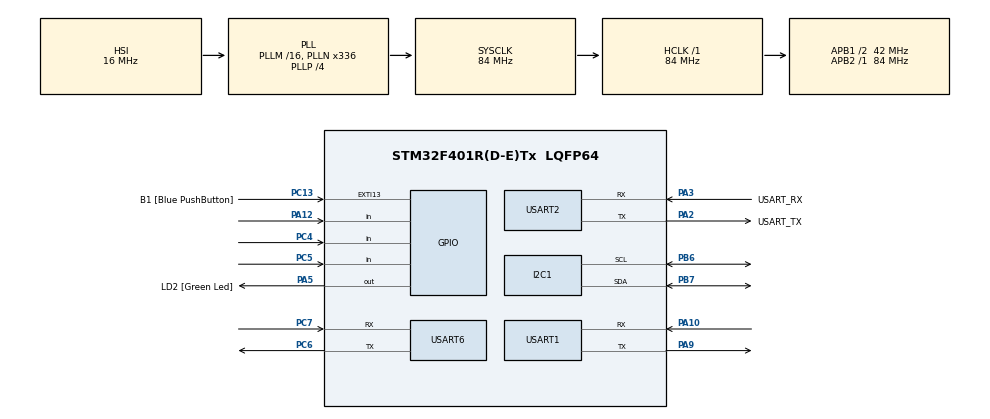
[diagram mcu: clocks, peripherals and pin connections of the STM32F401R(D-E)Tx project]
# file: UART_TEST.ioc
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Mcu.Family=STM32F4
PA2.GPIO_PuPd=GPIO_NOPULL
RCC.CortexFreq_Value=84000000
PA14.GPIO_Label=TCK
PA3.GPIO_PuPd=GPIO_NOPULL
PA2.GPIO_Speed=GPIO_SPEED_FREQ_LOW
PA3.GPIO_Speed=GPIO_SPEED_FREQ_LOW
RCC.SYSCLKSource=RCC_SYSCLKSOURCE_PLLCLK
ProjectManager.StackSize=0x400
VP_FREERTOS_VS_CMSIS_V2.Mode=CMSIS_V2
PA12.Signal=GPIO_Input
PH0\ -\ OSC_IN.Signal=RCC_OSC_IN
RCC.HCLKFreq_Value=84000000
RCC.APB2TimFreq_Value=84000000
PB6.Signal=I2C1_SCL
PC7.Signal=USART6_RX
PB6.Mode=I2C
RCC.AHBFreq_Value=84000000
RCC.HSE_VALUE=8000000
PC13-ANTI_TAMP.Signal=GPXTI13
PC14-OSC32_IN.Mode=LSE-External-Oscillator
PA14.Mode=Serial_Wire
PA5.GPIO_PuPd=GPIO_NOPULL
PB7.Signal=I2C1_SDA
Mcu.Package=LQFP64
USART2.VirtualMode=VM_ASYNC
USART6.VirtualMode=VM_ASYNC
PA2.GPIO_Label=USART_TX
PA10.Signal=USART1_RX
RCC.APB1TimFreq_Value=84000000
PC5.Signal=GPIO_Input
PA3.Signal=USART2_RX
PA2.GPIO_Mode=GPIO_MODE_AF_PP
PB3.GPIO_Label=SWO
PC15-OSC32_OUT.Mode=LSE-External-Oscillator
FREERTOS.Tasks01=defaultTask,24,128,StartDefaultTask,Default,NULL,Dynamic,NULL,NULL
PA10.Mode=Asynchronous
PC13-ANTI_TAMP.GPIO_PuPd=GPIO_NOPULL
PC13-ANTI_TAMP.GPIO_Label=B1 [Blue PushButton]
PH1\ -\ OSC_OUT.Mode=HSE-External-Clock-Source
PC4.Signal=GPIO_Input
PC6.Signal=USART6_TX
RCC.APB1CLKDivider=RCC_HCLK_DIV2
PC14-OSC32_IN.Signal=RCC_OSC32_IN
PA13.Signal=SYS_JTMS-SWDIO
PA3.Mode=Asynchronous
PA9.Mode=Asynchronous
PH0\ -\ OSC_IN.Mode=HSE-External-Clock-Source
ProjectManager.TargetToolchain=STM32CubeIDE
PA3.GPIO_Mode=GPIO_MODE_AF_PP
PC6.Mode=Asynchronous
PA9.Signal=USART1_TX
PC15-OSC32_OUT.Signal=RCC_OSC32_OUT
PA5.Signal=GPIO_Output
PH1\ -\ OSC_OUT.Signal=RCC_OSC_OUT
board=NUCLEO-F401RE
RCC.VCOOutputFreq_Value=336000000
RCC.APB2Freq_Value=84000000
PA13.Mode=Serial_Wire
Mcu.Name=STM32F401R(D-E)Tx
PA13.GPIO_Label=TMS
PA2.Signal=USART2_TX
RCC.48MHZClocksFreq_Value=48000000
PB3.Signal=SYS_JTDO-SWO
RCC.SYSCLKFreq_VALUE=84000000
PA5.GPIO_Label=LD2 [Green Led]
USART1.VirtualMode=VM_ASYNC
PC13-ANTI_TAMP.GPIO_ModeDefaultEXTI=GPIO_MODE_IT_FALLING
PB7.Mode=I2C
PA14.Signal=SYS_JTCK-SWCLK
ProjectManager.HeapSize=0x200
RCC.HSI_VALUE=16000000
RCC.PLLP=RCC_PLLP_DIV4
PA5.GPIO_Speed=GPIO_SPEED_FREQ_LOW
RCC.PLLQ=7
NVIC.PriorityGroup=NVIC_PRIORITYGROUP_4
RCC.PLLN=336
PA2.Mode=Asynchronous
PC7.Mode=Asynchronous
RCC.APB1Freq_Value=42000000
PA5.GPIO_Mode=GPIO_MODE_OUTPUT_PP
PA3.GPIO_Label=USART_RX

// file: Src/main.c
/* USER CODE BEGIN Header */
/**
 ******************************************************************************
 * @file           : main.c
 * @brief          : Main program body
 ******************************************************************************
 * @attention
 *
 * <h2><center>&copy; Copyright (c) 2021 STMicroelectronics.
 * All rights reserved.</center></h2>
 *
 * This software component is licensed by ST under BSD 3-Clause license,
 * the "License"; You may not use this file except in compliance with the
 * License. You may obtain a copy of the License at:
 *                        opensource.org/licenses/BSD-3-Clause
 *
 ******************************************************************************
 */
/* USER CODE END Header */
#include "main.h"
#include "cmsis_os.h"

/* USER CODE BEGIN Includes */
#include "pm_protocol.h"
#include <string.h>
#include <stdint.h>
#include "FreeRTOS.h"
#include "task.h"
#include "mics/mics_sensor2.h"
#include <stdio.h>
#include "mics/hardware_defs.h"
//#define ENABLE_MASTER_LOOPBACK_TEST
/* USER CODE END Includes */

I2C_HandleTypeDef hi2c1;

UART_HandleTypeDef huart1;
UART_HandleTypeDef huart2;
UART_HandleTypeDef huart6;

/* Definitions for defaultTask */
osThreadId_t defaultTaskHandle;
const osThreadAttr_t defaultTask_attributes = {
  .name = "defaultTask",
  .stack_size = 128 * 4,
  .priority = (osPriority_t) osPriorityNormal,
};
/* USER CODE BEGIN PV */
uint8_t rx_buffer[7]={0};
/* USER CODE END PV */

void SystemClock_Config(void);
static void MX_GPIO_Init(void);
static void MX_USART2_UART_Init(void);
static void MX_USART1_UART_Init(void);
static void MX_USART6_UART_Init(void);
static void MX_I2C1_Init(void);
void StartDefaultTask(void *argument);

/* USER CODE BEGIN PFP */
static int pmSlaveUartTx(uint8_t * data, uint8_t numBytes);
static int pmSlaveUartRx(uint8_t * data, uint8_t numBytes);

#ifdef ENABLE_MASTER_LOOPBACK_TEST
static int pmMasterUartTx(uint8_t * data, uint8_t numBytes);
static int pmMasterUartRx(uint8_t * data, uint8_t numBytes);
#endif
/* USER CODE END PFP */

/* USER CODE BEGIN 0 */

void debug(char * string) {
	uint32_t length = strlen(string);
	HAL_UART_Transmit(&huart2,(uint8_t *) string, length, 100);
}

/*static*/pmProtocolContext_t slave_uart;
static pmProtocolDriver_t slave_uart_drivers = { .tx = pmSlaveUartTx, .rx =
		pmSlaveUartRx, };

#ifdef ENABLE_MASTER_LOOPBACK_TEST
/*static*/pmProtocolContext_t master_uart;
static pmProtocolDriver_t master_uart_drivers = { .tx = pmMasterUartTx, .rx =
		pmMasterUartRx };
#endif

static int pmSlaveUartTx(uint8_t * data, uint8_t numBytes) {
	if ((HAL_UART_Transmit(&huart1, data, numBytes, 100) == HAL_OK)) {
		return numBytes;
	}
	return 0;
}

static int pmSlaveUartRx(uint8_t * data, uint8_t numBytes) {
	if ((HAL_UART_Receive(&huart1, data, numBytes,100) == HAL_OK)) {
		return numBytes;
	}
	return 0;
}

#ifdef ENABLE_MASTER_LOOPBACK_TEST

static int pmMasterUartTx(uint8_t * data, uint8_t numBytes) {
	if ((HAL_UART_Transmit(&huart6, data, numBytes, 10) == HAL_OK)) {
		return numBytes;
	}
	return 0;
}

static int pmMasterUartRx(uint8_t * data, uint8_t numBytes) {
	if ((HAL_UART_Receive(&huart6, data, numBytes, 10) == HAL_OK)) {
		return numBytes;
	}
	return 0;
}

#endif

/* USER CODE END 0 */

int main(void)
{

  /* MCU Configuration--------------------------------------------------------*/

  /* Reset of all peripherals, Initializes the Flash interface and the Systick. */

	HAL_Init();

  /* Configure the system clock */
  SystemClock_Config();

  /* Initialize all configured peripherals */
  MX_GPIO_Init();
  MX_USART2_UART_Init();
  MX_USART1_UART_Init();
  MX_USART6_UART_Init();
  MX_I2C1_Init();
  /* USER CODE BEGIN 2 */
	if (PM_PROTOCOL_SUCCESS
			!= pmProtocolInit(&slave_uart_drivers, &slave_uart)) {
		debug("Error! PM protocol initialized failed\n");
	}
#ifdef ENABLE_MASTER_LOOPBACK_TEST
	if (PM_PROTOCOL_SUCCESS
			!= pmProtocolInit(&master_uart_drivers, &master_uart)) {
		debug("Error! PM protocol initialized failed\n");
	}
#endif

  /* USER CODE END 2 */

  /* Init scheduler */
  osKernelInitialize();

  /* Create the thread(s) */
  /* creation of defaultTask */
  defaultTaskHandle = osThreadNew(StartDefaultTask, NULL, &defaultTask_attributes);

  /* Start scheduler */
  osKernelStart();

  /* We should never get here as control is now taken by the scheduler */
  /* Infinite loop */
	while (1) {

		 //vTaskDelay(100);
	}
}

void SystemClock_Config(void)
{
  RCC_OscInitTypeDef RCC_OscInitStruct = {0};
  RCC_ClkInitTypeDef RCC_ClkInitStruct = {0};

  /** Configure the main internal regulator output voltage
  */
  __HAL_RCC_PWR_CLK_ENABLE();
  __HAL_PWR_VOLTAGESCALING_CONFIG(PWR_REGULATOR_VOLTAGE_SCALE2);
  /** Initializes the RCC Oscillators according to the specified parameters
  * in the RCC_OscInitTypeDef structure.
  */
  RCC_OscInitStruct.OscillatorType = RCC_OSCILLATORTYPE_HSI;
  RCC_OscInitStruct.HSIState = RCC_HSI_ON;
  RCC_OscInitStruct.HSICalibrationValue = RCC_HSICALIBRATION_DEFAULT;
  RCC_OscInitStruct.PLL.PLLState = RCC_PLL_ON;
  RCC_OscInitStruct.PLL.PLLSource = RCC_PLLSOURCE_HSI;
  RCC_OscInitStruct.PLL.PLLM = 16;
  RCC_OscInitStruct.PLL.PLLN = 336;
  RCC_OscInitStruct.PLL.PLLP = RCC_PLLP_DIV4;
  RCC_OscInitStruct.PLL.PLLQ = 7;
  if (HAL_RCC_OscConfig(&RCC_OscInitStruct) != HAL_OK)
  {
    Error_Handler();
  }
  /** Initializes the CPU, AHB and APB buses clocks
  */
  RCC_ClkInitStruct.ClockType = RCC_CLOCKTYPE_HCLK|RCC_CLOCKTYPE_SYSCLK
                              |RCC_CLOCKTYPE_PCLK1|RCC_CLOCKTYPE_PCLK2;
  RCC_ClkInitStruct.SYSCLKSource = RCC_SYSCLKSOURCE_PLLCLK;
  RCC_ClkInitStruct.AHBCLKDivider = RCC_SYSCLK_DIV1;
  RCC_ClkInitStruct.APB1CLKDivider = RCC_HCLK_DIV2;
  RCC_ClkInitStruct.APB2CLKDivider = RCC_HCLK_DIV1;

  if (HAL_RCC_ClockConfig(&RCC_ClkInitStruct, FLASH_LATENCY_2) != HAL_OK)
  {
    Error_Handler();
  }
}

static void MX_I2C1_Init(void)
{

  hi2c1.Instance = I2C1;
  hi2c1.Init.ClockSpeed = 100000;
  hi2c1.Init.DutyCycle = I2C_DUTYCYCLE_2;
  hi2c1.Init.OwnAddress1 = 0;
  hi2c1.Init.AddressingMode = I2C_ADDRESSINGMODE_7BIT;
  hi2c1.Init.DualAddressMode = I2C_DUALADDRESS_DISABLE;
  hi2c1.Init.OwnAddress2 = 0;
  hi2c1.Init.GeneralCallMode = I2C_GENERALCALL_DISABLE;
  hi2c1.Init.NoStretchMode = I2C_NOSTRETCH_DISABLE;
  if (HAL_I2C_Init(&hi2c1) != HAL_OK)
  {
    Error_Handler();
  }

}

static void MX_USART1_UART_Init(void)
{

  huart1.Instance = USART1;
  huart1.Init.BaudRate = 115200;
  huart1.Init.WordLength = UART_WORDLENGTH_8B;
  huart1.Init.StopBits = UART_STOPBITS_1;
  huart1.Init.Parity = UART_PARITY_NONE;
  huart1.Init.Mode = UART_MODE_TX_RX;
  huart1.Init.HwFlowCtl = UART_HWCONTROL_NONE;
  huart1.Init.OverSampling = UART_OVERSAMPLING_16;
  if (HAL_UART_Init(&huart1) != HAL_OK)
  {
    Error_Handler();
  }

}

static void MX_USART2_UART_Init(void)
{

  huart2.Instance = USART2;
  huart2.Init.BaudRate = 115200;
  huart2.Init.WordLength = UART_WORDLENGTH_8B;
  huart2.Init.StopBits = UART_STOPBITS_1;
  huart2.Init.Parity = UART_PARITY_NONE;
  huart2.Init.Mode = UART_MODE_TX_RX;
  huart2.Init.HwFlowCtl = UART_HWCONTROL_NONE;
  huart2.Init.OverSampling = UART_OVERSAMPLING_16;
  if (HAL_UART_Init(&huart2) != HAL_OK)
  {
    Error_Handler();
  }

}

static void MX_USART6_UART_Init(void)
{

  huart6.Instance = USART6;
  huart6.Init.BaudRate = 115200;
  huart6.Init.WordLength = UART_WORDLENGTH_8B;
  huart6.Init.StopBits = UART_STOPBITS_1;
  huart6.Init.Parity = UART_PARITY_NONE;
  huart6.Init.Mode = UART_MODE_TX_RX;
  huart6.Init.HwFlowCtl = UART_HWCONTROL_NONE;
  huart6.Init.OverSampling = UART_OVERSAMPLING_16;
  if (HAL_UART_Init(&huart6) != HAL_OK)
  {
    Error_Handler();
  }

}

static void MX_GPIO_Init(void)
{
  GPIO_InitTypeDef GPIO_InitStruct = {0};

  /* GPIO Ports Clock Enable */
  __HAL_RCC_GPIOC_CLK_ENABLE();
  __HAL_RCC_GPIOH_CLK_ENABLE();
  __HAL_RCC_GPIOA_CLK_ENABLE();
  __HAL_RCC_GPIOB_CLK_ENABLE();

  /*Configure GPIO pin Output Level */
  HAL_GPIO_WritePin(LD2_GPIO_Port, LD2_Pin, GPIO_PIN_RESET);

  /*Configure GPIO pin : B1_Pin */
  GPIO_InitStruct.Pin = B1_Pin;
  GPIO_InitStruct.Mode = GPIO_MODE_IT_FALLING;
  GPIO_InitStruct.Pull = GPIO_NOPULL;
  HAL_GPIO_Init(B1_GPIO_Port, &GPIO_InitStruct);

  /*Configure GPIO pin : LD2_Pin */
  GPIO_InitStruct.Pin = LD2_Pin;
  GPIO_InitStruct.Mode = GPIO_MODE_OUTPUT_PP;
  GPIO_InitStruct.Pull = GPIO_NOPULL;
  GPIO_InitStruct.Speed = GPIO_SPEED_FREQ_LOW;
  HAL_GPIO_Init(LD2_GPIO_Port, &GPIO_InitStruct);

  /*Configure GPIO pins : PC4 PC5 */
  GPIO_InitStruct.Pin = GPIO_PIN_4|GPIO_PIN_5;
  GPIO_InitStruct.Mode = GPIO_MODE_INPUT;
  GPIO_InitStruct.Pull = GPIO_NOPULL;
  HAL_GPIO_Init(GPIOC, &GPIO_InitStruct);

  /*Configure GPIO pin : PA12 */
  GPIO_InitStruct.Pin = GPIO_PIN_12;
  GPIO_InitStruct.Mode = GPIO_MODE_INPUT;
  GPIO_InitStruct.Pull = GPIO_NOPULL;
  HAL_GPIO_Init(GPIOA, &GPIO_InitStruct);

}

/* USER CODE BEGIN 4 */
#if 0
void StartDefaultTask2(void *argument)
{
	 /* USER CODE BEGIN 5 */
		//TickType_t lastWakeupTicks = xTaskGetTickCount();
		/* Infinite loop */
		for (;;) {
			TickType_t nowTicks = xTaskGetTickCount();
			uint32_t nowTicks_ms = nowTicks * 1000 / configTICK_RATE_HZ;
			pmProtocolPeriodic(nowTicks_ms, &slave_uart);

			taskYIELD();
			//vTaskDelay(5);
		}
}
#endif
/* USER CODE END 4 */

#if 0
void StartDefaultTask(void *argument)
{
  /* USER CODE BEGIN 5 */
		//TickType_t lastWakeupTicks = xTaskGetTickCount();
		/* Infinite loop */
		for (;;) {
			TickType_t nowTicks = xTaskGetTickCount();
			uint32_t nowTicks_ms = nowTicks * 1000 / configTICK_RATE_HZ;
			pmProtocolPeriodic(nowTicks_ms, &slave_uart);

			taskYIELD();
			//vTaskDelay(5);
		}
}
#endif
/* USER CODE END 4 */

/* USER CODE BEGIN Header_StartDefaultTask */
/**
 * @brief  Function implementing the defaultTask thread.
 * @param  argument: Not used
 * @retval None
 */
/* USER CODE END Header_StartDefaultTask */

/* USER CODE END 4 */

/* USER CODE BEGIN Header_1 */
/**
 * @brief  Function implementing the defaultTask thread.
 * @param  argument: Not used
 * @retval None
 */
/* USER CODE END Header_1 */

/* USER CODE END 4 */

/* USER CODE BEGIN Header_1 */
/**
 * @brief  Function implementing the defaultTask thread.
 * @param  argument: Not used
 * @retval None
 */
/* USER CODE END Header_1 */

/* USER CODE END 4 */

/* USER CODE BEGIN Header_StartDefaultTask */
/**
 * @brief  Function implementing the defaultTask thread.
 * @param  argument: Not used
 * @retval None
 */
/* USER CODE END Header_StartDefaultTask */
#if 0
void StartDefaultTask(void *argument)
{

  /* USER CODE BEGIN 5 */
		//TickType_t lastWakeupTicks = xTaskGetTickCount();
		/* Infinite loop */
		for (;;) {
			TickType_t nowTicks = xTaskGetTickCount();
			uint32_t nowTicks_ms = nowTicks * 1000 / configTICK_RATE_HZ;
			pmProtocolPeriodic(nowTicks_ms, &slave_uart);

			taskYIELD();
			//vTaskDelay(5);
		}
}
#endif
/* USER CODE END 4 */

/* USER CODE BEGIN Header_StartDefaultTask */
/**
 * @brief  Function implementing the defaultTask thread.
 * @param  argument: Not used
 * @retval None
 */
/* USER CODE END Header_StartDefaultTask */
void StartDefaultTask(void *argument) {

	/* USER CODE BEGIN 5 */
	/* Infinite loop */
	for (;;) {
		TickType_t nowTicks = xTaskGetTickCount();
		uint32_t nowTicks_ms = nowTicks * 1000 / configTICK_RATE_HZ;
		pmProtocolPeriodic(nowTicks_ms, &slave_uart);
		uint32_t result_co2 = 0;
		uint32_t result_voc = 0;
		getSensorReading_co2level(&result_co2,0,HW_I2C1,NULL);
		getSensorReadingvoclevel(&result_voc,0,HW_I2C1,NULL);
		char msg[250];
		snprintf(msg,sizeof(msg),"CO2_level is : %d VOC level is %d \r\n",result_co2,result_voc);
		debug(msg);

#ifdef ENABLE_MASTER_LOOPBACK_TEST
		pmProtocolPeriodic(nowTicks_ms, &master_uart);

		pmProtocolRawPacket_t masterTx;
		masterTx.numBytes = strnlen("test", PM_MAX_PAYLOAD_BYTES);
		(void) memcpy(masterTx.bytes, "test", masterTx.numBytes);

		if (PM_PROTOCOL_SUCCESS
				== pmProtocolSendPacket(&masterTx, &master_uart)) {
			debug("Successfully sent the test string on the master node: ");
			debug("test");
			debug("\r\n");
		} else {
			debug(
					"Error: Failed to send the test string on the master node.\r\n");
		}

		//vTaskDelay(5);
		taskYIELD()
		;
#endif
	}
  /* USER CODE END 5 */
}

void Error_Handler(void)
{
}

/************************ (C) COPYRIGHT STMicroelectronics *****END OF FILE****/
